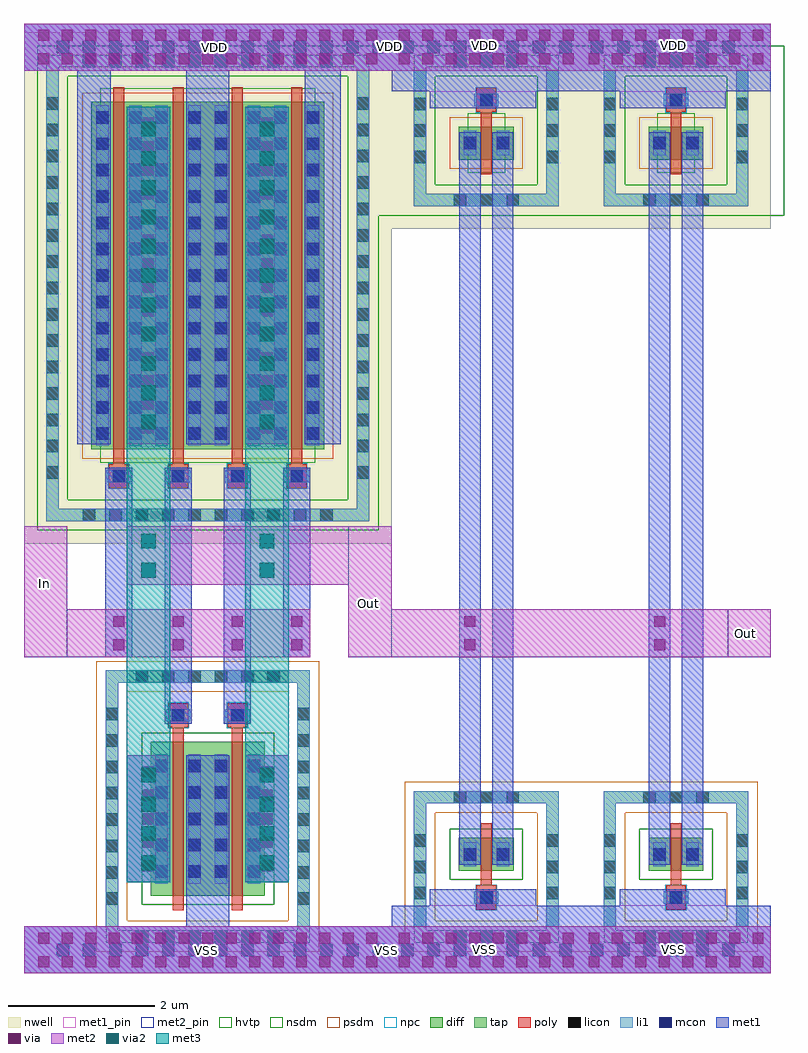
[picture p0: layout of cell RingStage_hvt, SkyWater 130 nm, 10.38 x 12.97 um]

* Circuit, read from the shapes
.subckt RingStage_hvt In Out VDD VSS
XM1 VSS In Out VSS sky130_fd_pr__nfet_01v8 w=2.1 l=0.15 m=2
XM2 n1 VSS Out VSS sky130_fd_pr__nfet_01v8 w=0.45 l=0.15
XM3 n2 VSS Out VSS sky130_fd_pr__nfet_01v8 w=0.45 l=0.15
XM4 Out In VDD VDD sky130_fd_pr__pfet_01v8_hvt w=4.75 l=0.15 m=4
XM5 n1 VDD Out VDD sky130_fd_pr__pfet_01v8_hvt w=0.45 l=0.15
XM6 n2 VDD Out VDD sky130_fd_pr__pfet_01v8_hvt w=0.45 l=0.15
.ends

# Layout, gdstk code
import gdstk
lib = gdstk.Library(unit=1e-6, precision=1e-09)
def R(c, l, rs):  # rectangles x0, y0, x1, y1
    for r in rs: c.add(gdstk.rectangle(r[:2], r[2:], *l))
def A(c, l, x, y, w, h, nx, ny, dx, dy):  # array of equal rectangles
    R(c, l, [(x+i*dx, y+j*dy, x+i*dx+w, y+j*dy+h) for i in range(nx) for j in range(ny)])
def P(c, l, *ps):  # polygons
    for p in ps: c.add(gdstk.Polygon(p, *l))
nwell = (64, 20)
diff = (65, 20)
tap = (65, 44)
poly = (66, 20)
licon = (66, 44)
li1 = (67, 20)
mcon = (67, 44)
met1_pin = (68, 16)
met1 = (68, 20)
via = (68, 44)
met2_pin = (69, 16)
met2 = (69, 20)
via2 = (69, 44)
met3 = (70, 20)
hvtp = (78, 44)
nsdm = (93, 44)
psdm = (94, 20)
npc = (95, 20)

ringstage_hvt = lib.new_cell('RingStage_hvt')
A(ringstage_hvt, nwell, -1.465, 5.52, 1.36, 5.85, 4, 1, 0.81, 0)
R(ringstage_hvt, nwell, [(-2.08,4.955,2.46,11.935), (2.46,4.955,2.94,11.935), (2.94,9.255,5.53,11.935), (5.53,9.255,8.12,11.935)])
A(ringstage_hvt, diff, -1.16, 6.24, 0.75, 4.75, 4, 1, 0.81, 0)
A(ringstage_hvt, diff, -0.41, 6.24, 0.155, 4.75, 3, 1, 0.81, 0)
R(ringstage_hvt, diff, [(-0.35,0.145,0.4,2.245), (0.4,0.145,0.46,2.245), (0.46,0.145,1.21,2.245), (3.86,0.485,4.61,0.935), (6.45,0.485,7.2,0.935), (3.86,10.2,4.61,10.65), (6.45,10.2,7.2,10.65)])
R(ringstage_hvt, tap, [(-0.965,-0.495,-0.795,3.225), (-0.795,-0.495,1.655,-0.325), (1.655,-0.495,1.825,3.225), (-0.795,3.055,1.655,3.225), (-1.775,5.26,2.465,5.43), (-1.775,5.26,-1.605,11.46), (-1.605,5.26,1.985,5.43), (2.465,5.26,2.635,11.46), (-1.775,11.46,2.635,11.63)])
P(ringstage_hvt, tap, [(3.245,-0.495),(3.245,1.405),(3.415,1.405),(3.415,-0.325),(5.055,-0.325),(5.055,1.405),(3.245,1.405),(3.245,1.575),(5.225,1.575),(5.225,-0.495)],
  [(3.245,9.56),(3.245,11.46),(3.415,11.46),(3.415,9.73),(5.055,9.73),(5.055,11.46),(3.245,11.46),(3.245,11.63),(5.225,11.63),(5.225,9.56)],
  [(5.835,-0.495),(5.835,1.405),(6.005,1.405),(6.005,-0.325),(7.645,-0.325),(7.645,1.405),(5.835,1.405),(5.835,1.575),(7.815,1.575),(7.815,-0.495)],
  [(5.835,9.56),(5.835,11.46),(6.005,11.46),(6.005,9.73),(7.645,9.73),(7.645,11.46),(5.835,11.46),(5.835,11.63),(7.815,11.63),(7.815,9.56)])
A(ringstage_hvt, poly, -0.92, 5.71, 0.27, 0.33, 4, 1, 0.81, 0)
A(ringstage_hvt, poly, -0.86, 6.04, 0.15, 5.15, 4, 1, 0.81, 0)
R(ringstage_hvt, poly, [(-0.05,-0.055,0.1,2.445), (0.76,-0.055,0.91,2.445), (4.1,-0.045,4.37,0.285), (6.69,-0.045,6.96,0.285), (4.16,0.285,4.31,1.135), (6.75,0.285,6.9,1.135), (-0.11,2.445,0.16,2.775), (0.7,2.445,0.97,2.775), (4.16,10,4.31,10.85), (6.75,10,6.9,10.85), (4.1,10.85,4.37,11.18), (6.69,10.85,6.96,11.18)])
A(ringstage_hvt, licon, -0.555, -0.495, 0.17, 0.17, 6, 2, 0.36, 3.55)
A(ringstage_hvt, licon, 3.79, -0.495, 0.17, 0.17, 3, 2, 0.36, 1.9)
A(ringstage_hvt, licon, 6.38, -0.495, 0.17, 0.17, 3, 2, 0.36, 1.9)
A(ringstage_hvt, licon, -0.965, 0.02, 0.17, 0.17, 1, 8, 0, 0.36)
A(ringstage_hvt, licon, 1.655, 0.02, 0.17, 0.17, 1, 8, 0, 0.36)
A(ringstage_hvt, licon, 3.245, 0.095, 0.17, 0.17, 1, 3, 0, 0.36)
A(ringstage_hvt, licon, 5.055, 0.095, 0.17, 0.17, 1, 3, 0, 0.36)
A(ringstage_hvt, licon, 5.835, 0.095, 0.17, 0.17, 1, 3, 0, 0.36)
A(ringstage_hvt, licon, 7.645, 0.095, 0.17, 0.17, 1, 3, 0, 0.36)
A(ringstage_hvt, licon, -0.285, 0.39, 0.17, 0.17, 1, 5, 0, 0.36)
A(ringstage_hvt, licon, 0.165, 0.39, 0.17, 0.17, 1, 5, 0, 0.36)
A(ringstage_hvt, licon, 0.525, 0.39, 0.17, 0.17, 1, 5, 0, 0.36)
A(ringstage_hvt, licon, 0.975, 0.39, 0.17, 0.17, 1, 5, 0, 0.36)
A(ringstage_hvt, licon, -1.275, 5.26, 0.17, 0.17, 10, 2, 0.36, 6.2)
A(ringstage_hvt, licon, -0.87, 5.79, 0.17, 0.17, 4, 1, 0.81, 0)
A(ringstage_hvt, licon, -1.775, 5.84, 0.17, 0.17, 1, 15, 0, 0.36)
A(ringstage_hvt, licon, 2.465, 5.84, 0.17, 0.17, 1, 15, 0, 0.36)
A(ringstage_hvt, licon, -1.095, 6.37, 0.17, 0.17, 1, 13, 0, 0.36)
A(ringstage_hvt, licon, -0.645, 6.37, 0.17, 0.17, 1, 13, 0, 0.36)
A(ringstage_hvt, licon, -0.285, 6.37, 0.17, 0.17, 1, 13, 0, 0.36)
A(ringstage_hvt, licon, 0.165, 6.37, 0.17, 0.17, 1, 13, 0, 0.36)
A(ringstage_hvt, licon, 0.525, 6.37, 0.17, 0.17, 1, 13, 0, 0.36)
A(ringstage_hvt, licon, 0.975, 6.37, 0.17, 0.17, 1, 13, 0, 0.36)
A(ringstage_hvt, licon, 1.335, 6.37, 0.17, 0.17, 1, 13, 0, 0.36)
A(ringstage_hvt, licon, 1.785, 6.37, 0.17, 0.17, 1, 13, 0, 0.36)
A(ringstage_hvt, licon, 3.79, 9.56, 0.17, 0.17, 3, 2, 0.36, 1.9)
A(ringstage_hvt, licon, 6.38, 9.56, 0.17, 0.17, 3, 2, 0.36, 1.9)
A(ringstage_hvt, licon, 3.245, 10.15, 0.17, 0.17, 1, 3, 0, 0.36)
A(ringstage_hvt, licon, 5.055, 10.15, 0.17, 0.17, 1, 3, 0, 0.36)
A(ringstage_hvt, licon, 5.835, 10.15, 0.17, 0.17, 1, 3, 0, 0.36)
A(ringstage_hvt, licon, 7.645, 10.15, 0.17, 0.17, 1, 3, 0, 0.36)
R(ringstage_hvt, licon, [(4.15,0.035,4.32,0.205), (6.74,0.035,6.91,0.205), (3.925,0.625,4.095,0.795), (4.375,0.625,4.545,0.795), (6.515,0.625,6.685,0.795), (6.965,0.625,7.135,0.795), (-0.06,2.525,0.11,2.695), (0.75,2.525,0.92,2.695), (3.925,10.34,4.095,10.51), (4.375,10.34,4.545,10.51), (6.515,10.34,6.685,10.51), (6.965,10.34,7.135,10.51), (4.15,10.93,4.32,11.1), (6.74,10.93,6.91,11.1)])
A(ringstage_hvt, li1, -0.95, 5.79, 0.33, 0.17, 4, 1, 0.81, 0)
R(ringstage_hvt, li1, [(-2.08,-0.915,2.94,-0.275), (2.94,-0.915,5.53,-0.275), (5.53,-0.915,8.12,-0.275), (-0.965,-0.495,-0.795,3.225), (-0.795,-0.495,1.655,-0.325), (1.655,-0.495,1.825,3.225), (4.07,0.035,4.4,0.205), (6.66,0.035,6.99,0.205), (-0.285,0.31,-0.115,2.08), (0.165,0.31,0.335,2.08), (0.525,0.31,0.695,2.08), (0.975,0.31,1.145,2.08), (3.925,0.545,4.095,0.875), (4.375,0.545,4.545,0.875), (6.515,0.545,6.685,0.875), (6.965,0.545,7.135,0.875), (-0.14,2.525,0.19,2.695), (0.67,2.525,1,2.695), (-0.795,3.055,1.655,3.225), (-1.775,5.26,2.465,5.43), (-1.775,5.26,-1.605,11.46), (2.465,5.26,2.635,11.46), (-1.095,6.29,-0.925,10.94), (-0.645,6.29,-0.475,10.94), (-0.285,6.29,-0.115,10.94), (0.165,6.29,0.335,10.94), (0.525,6.29,0.695,10.94), (0.975,6.29,1.145,10.94), (1.335,6.29,1.505,10.94), (1.785,6.29,1.955,10.94), (3.925,10.26,4.095,10.59), (4.375,10.26,4.545,10.59), (6.515,10.26,6.685,10.59), (6.965,10.26,7.135,10.59), (4.07,10.93,4.4,11.1), (6.66,10.93,6.99,11.1), (-2.08,11.415,2.94,12.055), (2.94,11.415,5.53,12.055), (5.53,11.415,8.12,12.055), (-1.775,11.46,2.635,11.63)])
P(ringstage_hvt, li1, [(3.245,-0.495),(3.245,1.405),(3.415,1.405),(3.415,-0.325),(5.055,-0.325),(5.055,1.405),(3.245,1.405),(3.245,1.575),(5.225,1.575),(5.225,-0.495)],
  [(3.245,9.56),(3.245,11.46),(3.415,11.46),(3.415,9.73),(5.055,9.73),(5.055,11.46),(3.245,11.46),(3.245,11.63),(5.225,11.63),(5.225,9.56)],
  [(5.835,-0.495),(5.835,1.405),(6.005,1.405),(6.005,-0.325),(7.645,-0.325),(7.645,1.405),(5.835,1.405),(5.835,1.575),(7.815,1.575),(7.815,-0.495)],
  [(5.835,9.56),(5.835,11.46),(6.005,11.46),(6.005,9.73),(7.645,9.73),(7.645,11.46),(5.835,11.46),(5.835,11.63),(7.815,11.63),(7.815,9.56)])
A(ringstage_hvt, mcon, -1.635, -0.68, 0.17, 0.17, 13, 2, 0.36, 12.33)
A(ringstage_hvt, mcon, 3.07, -0.68, 0.17, 0.17, 7, 2, 0.36, 12.33)
A(ringstage_hvt, mcon, 5.66, -0.68, 0.17, 0.17, 6, 2, 0.36, 12.33)
A(ringstage_hvt, mcon, -0.285, 0.39, 0.17, 0.17, 1, 5, 0, 0.36)
A(ringstage_hvt, mcon, 0.165, 0.39, 0.17, 0.17, 1, 5, 0, 0.36)
A(ringstage_hvt, mcon, 0.525, 0.39, 0.17, 0.17, 1, 5, 0, 0.36)
A(ringstage_hvt, mcon, 0.975, 0.39, 0.17, 0.17, 1, 5, 0, 0.36)
A(ringstage_hvt, mcon, -0.87, 5.79, 0.17, 0.17, 4, 1, 0.81, 0)
A(ringstage_hvt, mcon, -1.095, 6.37, 0.17, 0.17, 1, 13, 0, 0.36)
A(ringstage_hvt, mcon, -0.645, 6.37, 0.17, 0.17, 1, 13, 0, 0.36)
A(ringstage_hvt, mcon, -0.285, 6.37, 0.17, 0.17, 1, 13, 0, 0.36)
A(ringstage_hvt, mcon, 0.165, 6.37, 0.17, 0.17, 1, 13, 0, 0.36)
A(ringstage_hvt, mcon, 0.525, 6.37, 0.17, 0.17, 1, 13, 0, 0.36)
A(ringstage_hvt, mcon, 0.975, 6.37, 0.17, 0.17, 1, 13, 0, 0.36)
A(ringstage_hvt, mcon, 1.335, 6.37, 0.17, 0.17, 1, 13, 0, 0.36)
A(ringstage_hvt, mcon, 1.785, 6.37, 0.17, 0.17, 1, 13, 0, 0.36)
R(ringstage_hvt, mcon, [(4.15,0.035,4.32,0.205), (6.74,0.035,6.91,0.205), (3.925,0.625,4.095,0.795), (4.375,0.625,4.545,0.795), (6.515,0.625,6.685,0.795), (6.965,0.625,7.135,0.795), (-0.06,2.525,0.11,2.695), (0.75,2.525,0.92,2.695), (3.925,10.34,4.095,10.51), (4.375,10.34,4.545,10.51), (6.515,10.34,6.685,10.51), (6.965,10.34,7.135,10.51), (4.15,10.93,4.32,11.1), (6.74,10.93,6.91,11.1)])
R(ringstage_hvt, met1_pin, [(3.465,0.005,4.915,0.235), (6.055,0.005,7.505,0.235), (3.465,10.9,4.915,11.13), (6.055,10.9,7.505,11.13)])
A(ringstage_hvt, met1, -0.97, 3.4, 0.37, 0.66, 4, 1, 0.81, 0)
A(ringstage_hvt, met1, -0.97, 4.06, 0.37, 1.7, 4, 1, 0.81, 0)
A(ringstage_hvt, met1, -0.97, 5.76, 0.37, 0.23, 4, 1, 0.81, 0)
A(ringstage_hvt, met1, -0.445, 6.31, 0.13, 4.61, 3, 1, 0.81, 0)
R(ringstage_hvt, met1, [(-2.08,-0.915,2.94,-0.275), (2.94,-0.915,5.53,-0.275), (5.53,-0.915,8.12,-0.275), (0.135,-0.275,0.725,0.33), (2.94,-0.275,8.12,0.005), (3.465,0.005,4.915,0.235), (4.05,0.005,4.42,0.235), (6.055,0.005,7.505,0.235), (6.64,0.005,7.01,0.235), (-0.675,0.33,-0.085,2.06), (-0.315,0.33,-0.085,2.06), (0.135,0.33,0.365,2.06), (0.365,0.33,0.495,2.06), (0.495,0.33,0.725,2.06), (0.945,0.33,1.175,2.06), (0.945,0.33,1.535,2.06), (3.865,0.565,4.155,0.855), (4.315,0.565,4.605,0.855), (6.455,0.565,6.745,0.855), (6.905,0.565,7.195,0.855), (3.865,0.855,4.155,10.28), (4.315,0.855,4.605,10.28), (6.455,0.855,6.745,10.28), (6.905,0.855,7.195,10.28), (-0.16,2.495,0.21,2.725), (0.65,2.495,1.02,2.725), (-0.16,2.725,0.21,3.73), (0.65,2.725,1.02,3.73), (3.865,3.4,4.155,4.06), (6.455,3.4,6.745,4.06), (-1.355,6.31,-0.895,11.415), (-1.125,6.31,-0.895,10.92), (-0.675,6.31,-0.085,10.92), (-0.675,6.31,-0.445,10.92), (-0.315,6.31,-0.085,10.92), (0.135,6.31,0.365,10.92), (0.495,6.31,0.725,10.92), (0.945,6.31,1.535,10.92), (0.945,6.31,1.175,10.92), (1.305,6.31,1.535,10.92), (1.755,6.31,1.985,10.92), (1.755,6.31,2.245,11.415), (3.865,10.28,4.155,10.57), (4.315,10.28,4.605,10.57), (6.455,10.28,6.745,10.57), (6.905,10.28,7.195,10.57), (3.465,10.9,4.915,11.13), (4.05,10.9,4.42,11.13), (6.055,10.9,7.505,11.13), (6.64,10.9,7.01,11.13), (0.135,10.92,0.725,11.415), (2.94,11.13,8.12,11.415), (-2.08,11.415,2.94,12.055), (2.94,11.415,5.53,12.055), (5.53,11.415,8.12,12.055)])
A(ringstage_hvt, via, -1.885, -0.83, 0.15, 0.15, 15, 2, 0.32, 0.32)
A(ringstage_hvt, via, 3.04, -0.83, 0.15, 0.15, 8, 2, 0.32, 0.32)
A(ringstage_hvt, via, 5.63, -0.83, 0.15, 0.15, 8, 2, 0.32, 0.32)
A(ringstage_hvt, via, -0.455, 0.48, 0.15, 0.15, 1, 5, 0, 0.32)
A(ringstage_hvt, via, 1.165, 0.48, 0.15, 0.15, 1, 5, 0, 0.32)
A(ringstage_hvt, via, -0.86, 3.495, 0.15, 0.15, 4, 2, 0.81, 0.32)
A(ringstage_hvt, via, -0.455, 6.46, 0.15, 0.15, 1, 14, 0, 0.32)
A(ringstage_hvt, via, 1.165, 6.46, 0.15, 0.15, 1, 14, 0, 0.32)
A(ringstage_hvt, via, -1.885, 11.5, 0.15, 0.15, 15, 2, 0.32, 0.32)
A(ringstage_hvt, via, 3.04, 11.5, 0.15, 0.15, 8, 2, 0.32, 0.32)
A(ringstage_hvt, via, 5.63, 11.5, 0.15, 0.15, 8, 2, 0.32, 0.32)
R(ringstage_hvt, via, [(3.935,3.495,4.085,3.645), (6.525,3.495,6.675,3.645), (3.935,3.815,4.085,3.965), (6.525,3.815,6.675,3.965)])
R(ringstage_hvt, met2_pin, [(-2.08,-0.915,8.12,-0.275), (-2.08,-0.915,2.94,-0.275), (2.94,-0.915,5.53,-0.275), (5.53,-0.915,8.12,-0.275), (-2.08,3.4,-1.49,5.19), (-2.08,3.4,-1.49,5.19), (2.35,3.4,2.94,5.19), (7.53,3.4,8.12,4.06), (-2.08,11.415,8.12,12.055), (-2.08,11.415,2.94,12.055), (2.94,11.415,5.53,12.055), (5.53,11.415,8.12,12.055)])
A(ringstage_hvt, met2, -0.97, 3.4, 0.37, 0.66, 4, 1, 0.81, 0)
R(ringstage_hvt, met2, [(-2.08,-0.915,2.94,-0.275), (-2.08,-0.915,2.94,-0.275), (2.94,-0.915,5.53,-0.275), (5.53,-0.915,8.12,-0.275), (-0.675,0.33,-0.085,2.06), (0.945,0.33,1.535,2.06), (-2.08,3.4,1.83,4.06), (2.35,3.4,2.94,4.39), (2.94,3.4,8.12,4.06), (3.865,3.4,4.155,4.06), (6.455,3.4,6.745,4.06), (-2.08,4.06,-1.49,5.19), (-0.675,4.39,-0.085,5.19), (-0.675,4.39,2.94,5.19), (0.945,4.39,1.535,5.19), (-0.675,6.31,-0.085,10.92), (0.945,6.31,1.535,10.92), (-2.08,11.415,2.94,12.055), (-2.08,11.415,2.94,12.055), (2.94,11.415,5.53,12.055), (5.53,11.415,8.12,12.055)])
A(ringstage_hvt, via2, -0.48, 0.495, 0.2, 0.2, 1, 4, 0, 0.4)
A(ringstage_hvt, via2, 1.14, 0.495, 0.2, 0.2, 1, 4, 0, 0.4)
A(ringstage_hvt, via2, -0.48, 6.515, 0.2, 0.2, 1, 11, 0, 0.4)
A(ringstage_hvt, via2, 1.14, 6.515, 0.2, 0.2, 1, 11, 0, 0.4)
R(ringstage_hvt, via2, [(-0.48,4.49,-0.28,4.69), (1.14,4.49,1.34,4.69), (-0.48,4.89,-0.28,5.09), (1.14,4.89,1.34,5.09)])
R(ringstage_hvt, met3, [(-0.675,0.33,-0.085,2.06), (0.945,0.33,1.535,2.06), (-0.675,2.06,-0.085,4.39), (0.945,2.06,1.535,4.39), (-0.675,4.39,-0.085,5.19), (0.945,4.39,1.535,5.19), (-0.675,5.19,-0.085,6.31), (0.945,5.19,1.535,6.31), (-0.675,6.31,-0.085,10.92), (0.945,6.31,1.535,10.92)])
A(ringstage_hvt, hvtp, -1.04, 6.06, 0.51, 5.11, 4, 1, 0.81, 0)
A(ringstage_hvt, hvtp, -0.53, 6.06, 0.3, 5.11, 3, 1, 0.81, 0)
R(ringstage_hvt, hvtp, [(3.98,10.02,4.49,10.83), (6.57,10.02,7.08,10.83)])
R(ringstage_hvt, nsdm, [(-0.475,0.02,0.525,2.37), (0.335,0.02,1.335,2.37), (3.735,0.36,4.735,1.06), (6.325,0.36,7.325,1.06), (-1.9,5.135,2.765,5.555), (-1.9,5.555,-1.48,11.335), (2.345,5.555,2.765,11.335), (2.765,9.435,3.12,11.755), (5.35,9.435,5.71,11.755), (7.94,9.435,8.3,11.755), (-1.9,11.335,2.765,11.755)])
P(ringstage_hvt, nsdm, [(3.12,9.435),(3.12,11.335),(3.54,11.335),(3.54,9.855),(4.93,9.855),(4.93,11.335),(3.12,11.335),(3.12,11.755),(5.35,11.755),(5.35,9.435)],
  [(5.71,9.435),(5.71,11.335),(6.13,11.335),(6.13,9.855),(7.52,9.855),(7.52,11.335),(5.71,11.335),(5.71,11.755),(7.94,11.755),(7.94,9.435)])
A(ringstage_hvt, psdm, -1.285, 6.115, 1, 5, 4, 1, 0.81, 0)
R(ringstage_hvt, psdm, [(-1.09,-0.62,-0.67,3.35), (-0.67,-0.62,1.53,-0.2), (1.53,-0.62,1.95,3.35), (5.35,-0.62,5.71,1.7), (-0.67,2.93,1.53,3.35), (3.735,10.075,4.735,10.775), (6.325,10.075,7.325,10.775)])
P(ringstage_hvt, psdm, [(3.12,-0.62),(3.12,1.28),(3.54,1.28),(3.54,-0.2),(4.93,-0.2),(4.93,1.28),(3.12,1.28),(3.12,1.7),(5.35,1.7),(5.35,-0.62)],
  [(5.71,-0.62),(5.71,1.28),(6.13,1.28),(6.13,-0.2),(7.52,-0.2),(7.52,1.28),(5.71,1.28),(5.71,1.7),(7.94,1.7),(7.94,-0.62)])
A(ringstage_hvt, npc, -0.93, 5.7, 0.29, 0.35, 4, 1, 0.81, 0)
R(ringstage_hvt, npc, [(4.09,-0.055,4.38,0.295), (6.68,-0.055,6.97,0.295), (-0.12,2.435,0.17,2.785), (0.69,2.435,0.98,2.785), (4.09,10.84,4.38,11.19), (6.68,10.84,6.97,11.19)])
ringstage_hvt.add(gdstk.Label('VSS', (0.41,-0.6), layer=69, texttype=5))
ringstage_hvt.add(gdstk.Label('VDD', (0.525,11.73), layer=69, texttype=5))
ringstage_hvt.add(gdstk.Label('In', (-1.8,4.415), layer=69, texttype=5))
ringstage_hvt.add(gdstk.Label('Out', (2.625,4.14), layer=69, texttype=5))
ringstage_hvt.add(gdstk.Label('VDD', (4.205,11.76), layer=69, texttype=5))
ringstage_hvt.add(gdstk.Label('VSS', (4.205,-0.585), layer=69, texttype=5))
ringstage_hvt.add(gdstk.Label('VDD', (6.795,11.76), layer=69, texttype=5))
ringstage_hvt.add(gdstk.Label('VSS', (6.795,-0.585), layer=69, texttype=5))
ringstage_hvt.add(gdstk.Label('Out', (7.77,3.73), layer=69, texttype=5))
ringstage_hvt.add(gdstk.Label('VDD', (2.91,11.74), layer=69, texttype=5))
ringstage_hvt.add(gdstk.Label('VSS', (2.875,-0.605), layer=69, texttype=5))
ringstage_hvt.add(gdstk.Label('In', (-1.765,4.54), layer=69, texttype=5))

lib.write_gds('RingStage_hvt.gds')
